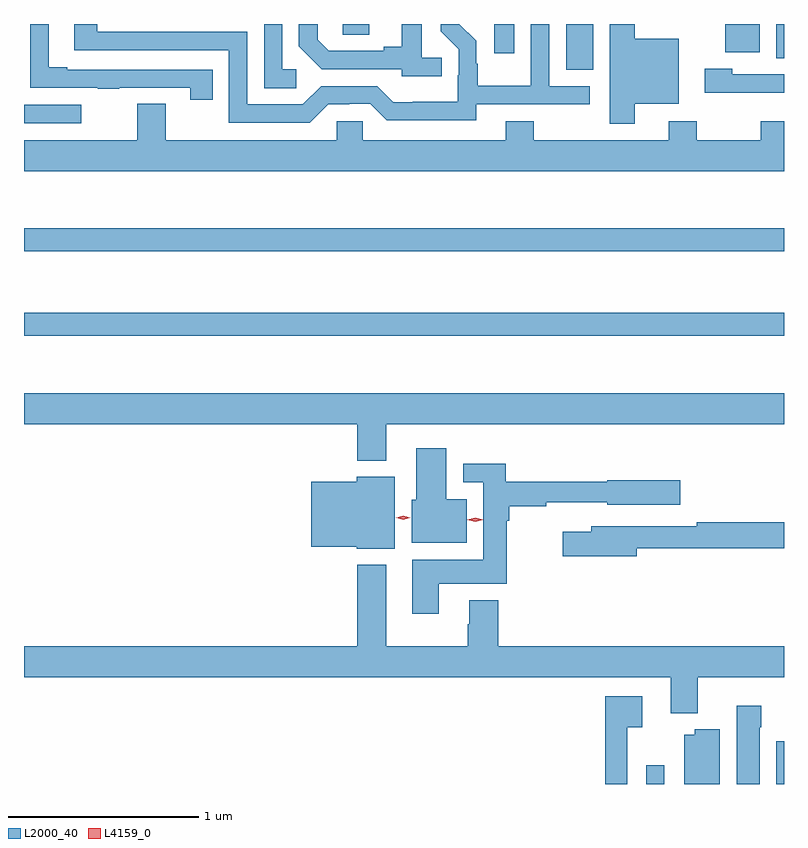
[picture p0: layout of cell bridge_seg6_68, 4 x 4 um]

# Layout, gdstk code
import gdstk
lib = gdstk.Library(unit=1e-6, precision=1e-09)
def R(c, l, rs):  # rectangles x0, y0, x1, y1
    for r in rs: c.add(gdstk.rectangle(r[:2], r[2:], *l))
def P(c, l, *ps):  # polygons
    for p in ps: c.add(gdstk.Polygon(p, *l))
L2000_40 = (2000, 40)
L4159_0 = (4159, 0)

bridge_seg6_68 = lib.new_cell('bridge_seg6_68')
R(bridge_seg6_68, L2000_40, [(865.518,961.427,865.614,961.525), (866.204,961.427,866.244,961.653), (862.244,963.786,866.244,963.907), (862.244,964.23,866.244,964.351), (862.244,964.905,862.546,965.001), (865.097,965.185,865.24,965.427), (866.204,965.248,866.244,965.427), (864.719,965.274,864.823,965.427), (865.934,965.279,866.116,965.427), (863.922,965.371,864.061,965.427)])
P(bridge_seg6_68, L2000_40, [(865.459,965.006),(865.69,965.006),(865.69,965.35),(865.459,965.35),(865.459,965.427),(865.328,965.427),(865.328,964.902),(865.459,964.902)],
  [(863.844,965.004),(863.957,965.004),(863.957,965.007),(864.066,965.007),(864.153,964.92),(864.625,964.92),(864.625,965.004),(865.222,965.004),(865.222,965.1),(865.008,965.1),(865.008,965.427),(864.912,965.427),(864.912,965.101),(864.632,965.101),(864.632,965.217),(864.624,965.217),(864.624,965.338),(864.536,965.427),(864.438,965.427),(864.438,965.388),(864.531,965.295),(864.531,965.157),(864.528,965.157),(864.528,965.017),(864.289,965.017),(864.289,965.015),(864.188,965.015),(864.102,965.1),(863.808,965.1),(863.712,965.004),(863.418,965.004),(863.418,965.385),(862.629,965.385),(862.629,965.427),(862.509,965.427),(862.509,965.289),(863.322,965.289),(863.322,964.908),(863.748,964.908)],
  [(864.443,965.25),(864.337,965.25),(864.337,965.427),(864.233,965.427),(864.233,965.306),(864.137,965.306),(864.137,965.286),(863.848,965.286),(863.79,965.344),(863.79,965.427),(863.689,965.427),(863.689,965.311),(863.81,965.19),(864.233,965.19),(864.233,965.153),(864.443,965.153)],
  [(863.237,965.187),(862.471,965.187),(862.471,965.2),(862.375,965.2),(862.375,965.427),(862.278,965.427),(862.278,965.091),(862.633,965.091),(862.633,965.086),(862.745,965.086),(862.745,965.091),(863.119,965.091),(863.119,965.028),(863.237,965.028)],
  [(863.677,965.19),(863.604,965.19),(863.604,965.427),(863.508,965.427),(863.508,965.089),(863.677,965.089)],
  [(866.244,965.163),(865.971,965.163),(865.971,965.191),(865.827,965.191),(865.827,965.066),(866.244,965.066)],
  [(862.841,965.006),(862.841,964.816),(862.244,964.816),(862.244,964.652),(866.244,964.652),(866.244,964.915),(866.122,964.915),(866.122,964.816),(865.785,964.816),(865.785,964.915),(865.637,964.915),(865.637,964.816),(864.927,964.816),(864.927,964.915),(864.779,964.915),(864.779,964.816),(864.027,964.816),(864.027,964.914),(863.889,964.914),(863.889,964.816),(862.989,964.816),(862.989,965.006)],
  [(864.151,963.32),(866.244,963.32),(866.244,963.484),(862.244,963.484),(862.244,963.32),(863.999,963.32),(863.999,963.128),(864.151,963.128)],
  [(864.574,962.926),(864.466,962.926),(864.466,963.193),(864.308,963.193),(864.308,962.922),(864.284,962.922),(864.284,962.696),(864.574,962.696)],
  [(864.427,962.48),(864.784,962.48),(864.784,962.813),(864.797,962.813),(864.797,962.89),(864.992,962.89),(864.992,962.91),(865.314,962.91),(865.314,962.897),(865.699,962.897),(865.699,963.027),(865.314,963.027),(865.314,963.019),(864.779,963.019),(864.779,963.113),(864.555,963.113),(864.555,963.015),(864.662,963.015),(864.662,962.608),(864.287,962.608),(864.287,962.322),(864.427,962.322)],
  [(864.196,963.043),(863.994,963.043),(863.994,963.019),(863.756,963.019),(863.756,962.675),(863.994,962.675),(863.994,962.666),(864.196,962.666)],
  [(865.468,962.668),(866.244,962.668),(866.244,962.804),(865.786,962.804),(865.786,962.784),(865.229,962.784),(865.229,962.755),(865.08,962.755),(865.08,962.626),(865.468,962.626)],
  [(865.789,961.988),(866.244,961.988),(866.244,962.152),(864.74,962.152),(864.74,962.395),(864.587,962.395),(864.587,962.268),(864.58,962.268),(864.58,962.152),(864.151,962.152),(864.151,962.581),(863.999,962.581),(863.999,962.152),(862.244,962.152),(862.244,961.988),(865.649,961.988),(865.649,961.799),(865.789,961.799)],
  [(865.419,961.727),(865.498,961.727),(865.498,961.888),(865.303,961.888),(865.303,961.427),(865.419,961.427)],
  [(866.116,961.727),(866.124,961.727),(866.124,961.84),(865.994,961.84),(865.994,961.427),(866.116,961.427)],
  [(865.906,961.714),(865.773,961.714),(865.773,961.687),(865.718,961.687),(865.718,961.427),(865.906,961.427)])
P(bridge_seg6_68, L4159_0, [(864.619,962.808),(864.578,962.817),(864.578,962.817),(864.578,962.817),(864.619,962.828),(864.66,962.818),(864.661,962.818),(864.66,962.818)],
  [(864.24,962.818),(864.204,962.829),(864.203,962.829),(864.204,962.829),(864.241,962.838),(864.278,962.828),(864.278,962.828),(864.278,962.828)])

lib.write_gds('bridge_seg6_68.gds')
